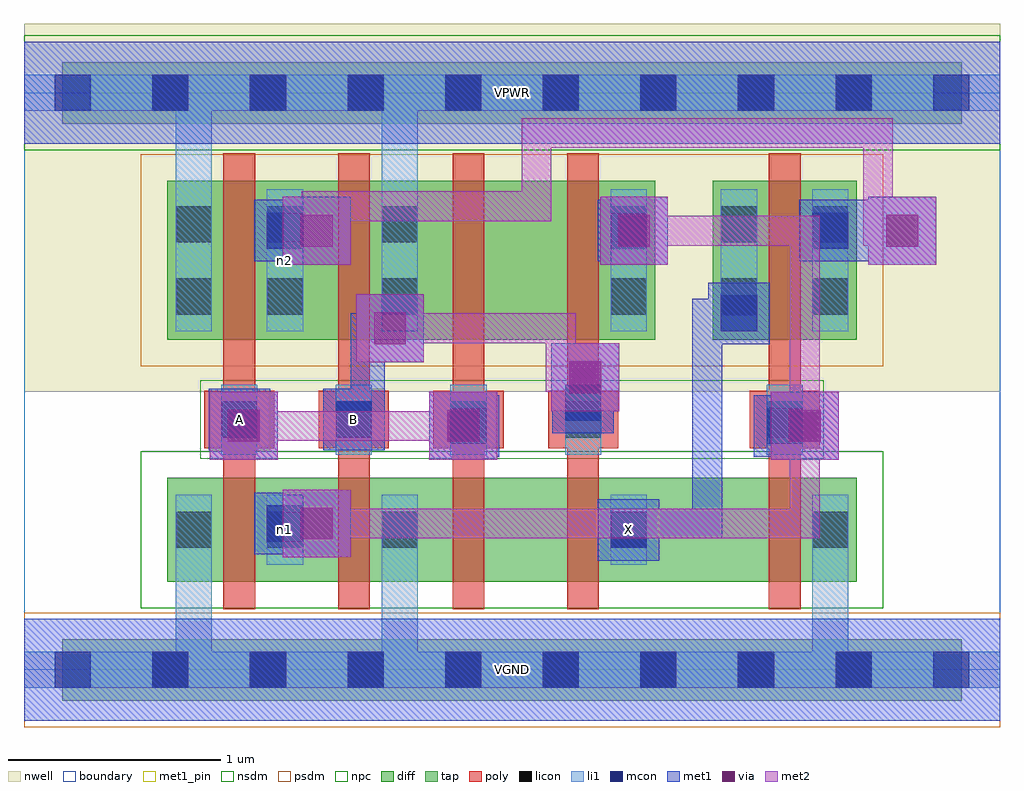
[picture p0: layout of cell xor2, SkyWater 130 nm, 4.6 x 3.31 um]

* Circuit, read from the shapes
.subckt xor2 A B VGND VPWR X n1 n2
XM1 n1 A VGND VGND sky130_fd_pr__nfet_01v8 w=0.49 l=0.15
XM2 VGND B n1 VGND sky130_fd_pr__nfet_01v8 w=0.49 l=0.15
XM3 n3 A VGND VGND sky130_fd_pr__nfet_01v8 w=0.49 l=0.15
XM4 X B n3 VGND sky130_fd_pr__nfet_01v8 w=0.49 l=0.15
XM5 VGND n1 X VGND sky130_fd_pr__nfet_01v8 w=0.49 l=0.15
XM6 n2 A VPWR VPWR sky130_fd_pr__pfet_01v8 w=0.75 l=0.15
XM7 VPWR B n2 VPWR sky130_fd_pr__pfet_01v8 w=0.75 l=0.15
XM8 n4 A VPWR VPWR sky130_fd_pr__pfet_01v8 w=0.75 l=0.15
XM9 n1 B n4 VPWR sky130_fd_pr__pfet_01v8 w=0.75 l=0.15
XM10 n2 n1 X VPWR sky130_fd_pr__pfet_01v8 w=0.75 l=0.15
.ends

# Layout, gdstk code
import gdstk
lib = gdstk.Library(unit=1e-6, precision=1e-09)
def R(c, l, rs):  # rectangles x0, y0, x1, y1
    for r in rs: c.add(gdstk.rectangle(r[:2], r[2:], *l))
def A(c, l, x, y, w, h, nx, ny, dx, dy):  # array of equal rectangles
    R(c, l, [(x+i*dx, y+j*dy, x+i*dx+w, y+j*dy+h) for i in range(nx) for j in range(ny)])
nwell = (64, 20)
diff = (65, 20)
tap = (65, 44)
poly = (66, 20)
licon = (66, 44)
li1 = (67, 20)
mcon = (67, 44)
met1_pin = (68, 16)
met1 = (68, 20)
via = (68, 44)
met2 = (69, 20)
nsdm = (93, 44)
psdm = (94, 20)
npc = (95, 20)
boundary = (235, 4)

xor2 = lib.new_cell('xor2')
R(xor2, nwell, [(0,1.31,4.6,3.045)])
R(xor2, diff, [(0.675,0.415,3.925,0.905), (0.675,1.555,2.975,2.305), (3.245,1.555,3.925,2.305)])
R(xor2, tap, [(0.18,-0.145,4.42,0.145), (0.18,2.575,4.42,2.865)])
A(xor2, poly, 0.94, 0.285, 0.15, 2.15, 4, 1, 0.54, 0)
A(xor2, poly, 0.85, 1.045, 0.33, 0.27, 4, 1, 0.54, 0)
R(xor2, poly, [(3.51,0.285,3.66,2.435), (3.42,1.045,3.75,1.315)])
A(xor2, licon, 0.605, -0.085, 0.17, 0.17, 8, 2, 0.46, 2.72)
A(xor2, licon, 0.93, 1.095, 0.17, 0.17, 4, 1, 0.54, 0)
R(xor2, licon, [(0.715,0.575,0.885,0.745), (1.145,0.575,1.315,0.745), (1.685,0.575,1.855,0.745), (2.765,0.575,2.935,0.745), (3.715,0.575,3.885,0.745), (3.5,1.095,3.67,1.265), (0.715,1.675,0.885,1.845), (1.145,1.675,1.315,1.845), (1.685,1.675,1.855,1.845), (2.765,1.675,2.935,1.845), (3.285,1.675,3.455,1.845), (3.715,1.675,3.885,1.845), (0.715,2.015,0.885,2.185), (1.145,2.015,1.315,2.185), (1.685,2.015,1.855,2.185), (2.765,2.015,2.935,2.185), (3.285,2.015,3.455,2.185), (3.715,2.015,3.885,2.185)])
A(xor2, li1, 0.93, 1.015, 0.17, 0.33, 4, 1, 0.54, 0)
R(xor2, li1, [(0,-0.085,4.6,0.085), (0.715,-0.085,0.885,0.825), (1.685,-0.085,1.855,0.825), (3.715,-0.085,3.885,0.825), (0.715,0.495,0.885,0.825), (1.145,0.495,1.315,0.825), (1.685,0.495,1.855,0.825), (2.765,0.495,2.935,0.825), (3.715,0.495,3.885,0.825), (3.5,1.015,3.67,1.345), (0.715,1.595,0.885,2.265), (0.715,1.595,0.885,2.805), (1.145,1.595,1.315,2.265), (1.685,1.595,1.855,2.265), (1.685,1.595,1.855,2.805), (2.765,1.595,2.935,2.265), (3.285,1.595,3.455,2.265), (3.715,1.595,3.885,2.265), (0,2.635,4.6,2.805)])
A(xor2, mcon, 0.145, -0.085, 0.17, 0.17, 10, 2, 0.46, 2.72)
R(xor2, mcon, [(2.765,0.575,2.935,0.745), (1.145,0.605,1.315,0.775), (2.01,1.065,2.18,1.235), (3.5,1.065,3.67,1.235), (0.93,1.095,1.1,1.265), (1.47,1.095,1.64,1.265), (2.55,1.175,2.72,1.345), (3.285,1.595,3.455,1.765), (1.145,1.985,1.315,2.155), (2.765,1.985,2.935,2.155), (3.715,1.985,3.885,2.155)])
R(xor2, met1_pin, [(0,-0.24,4.6,0.24), (2.705,0.515,2.995,0.805), (0.87,1.035,1.16,1.325), (1.41,1.035,1.7,1.325), (0,2.48,4.6,2.96)])
R(xor2, met1, [(0,-0.24,4.6,0.24), (2.705,0.515,2.995,0.805), (1.22,0.53,1.54,0.85), (1.085,0.545,1.375,0.835), (1.16,0.62,1.45,0.76), (2.805,0.62,2.945,0.76), (2.805,0.62,3.29,0.76), (3.15,0.62,3.29,1.565), (0.875,0.99,1.195,1.31), (1.91,0.99,2.23,1.31), (3.52,0.99,3.84,1.31), (1.95,1.005,2.24,1.295), (3.44,1.005,3.73,1.295), (0.87,1.035,1.16,1.325), (1.41,1.035,1.7,1.325), (0.965,1.08,1.105,1.22), (1.54,1.08,1.68,1.22), (1.54,1.08,1.68,1.68), (2,1.08,2.165,1.22), (3.515,1.08,3.75,1.22), (2.49,1.115,2.78,1.405), (2.565,1.19,2.715,1.33), (2.575,1.19,2.715,1.45), (2.485,1.22,2.805,1.54), (1.565,1.325,1.7,1.45), (3.15,1.425,3.29,1.75), (1.565,1.45,1.885,1.77), (3.225,1.535,3.515,1.825), (1.54,1.54,1.795,1.68), (3.15,1.61,3.44,1.75), (1.22,1.91,1.54,2.23), (2.715,1.91,3.035,2.23), (3.98,1.91,4.3,2.23), (1.085,1.925,1.375,2.215), (2.705,1.925,2.995,2.215), (3.655,1.925,3.945,2.215), (3.945,1.925,3.98,2.215), (1.16,2,1.45,2.14), (2.78,2,2.945,2.14), (3.73,2,3.98,2.14), (3.84,2,4.21,2.14), (0,2.48,4.6,2.96)])
R(xor2, via, [(1.305,0.615,1.455,0.765), (0.96,1.075,1.11,1.225), (1.995,1.075,2.145,1.225), (3.605,1.075,3.755,1.225), (2.57,1.305,2.72,1.455), (1.65,1.535,1.8,1.685), (1.305,1.995,1.455,2.145), (2.8,1.995,2.95,2.145), (4.065,1.995,4.215,2.145)])
R(xor2, met2, [(1.22,0.53,1.54,0.85), (1.31,0.62,3.75,0.76), (3.61,0.62,3.75,1.22), (0.875,0.99,1.195,1.31), (1.91,0.99,2.23,1.31), (3.52,0.99,3.84,1.31), (0.965,1.08,2.14,1.22), (3.61,1.08,3.75,2.14), (2.485,1.22,2.805,1.54), (2.46,1.31,2.6,1.68), (2.46,1.31,2.715,1.45), (1.565,1.45,1.885,1.77), (1.655,1.54,2.6,1.68), (1.22,1.91,1.54,2.23), (2.715,1.91,3.035,2.23), (3.98,1.91,4.3,2.23), (1.31,2,1.45,2.255), (2.805,2,3.75,2.14), (3.955,2,4.21,2.14), (3.955,2,4.095,2.6), (1.31,2.115,2.485,2.255), (2.345,2.115,2.485,2.6), (2.345,2.46,4.095,2.6)])
R(xor2, nsdm, [(0.55,0.29,4.05,1.03), (0,2.45,4.6,2.99)])
R(xor2, psdm, [(0,-0.27,4.6,0.27), (0.55,1.43,4.05,2.43)])
R(xor2, npc, [(0.83,0.995,3.77,1.365)])
R(xor2, boundary, [(0,0,4.6,2.72)])
xor2.add(gdstk.Label('n1', (1.23,0.66), layer=67, texttype=5))
xor2.add(gdstk.Label('n2', (1.23,1.93), layer=67, texttype=5))
xor2.add(gdstk.Label('A', (1.015,1.18), layer=68, texttype=5))
xor2.add(gdstk.Label('B', (1.555,1.18), layer=68, texttype=5))
xor2.add(gdstk.Label('X', (2.85,0.66), layer=68, texttype=5))
xor2.add(gdstk.Label('VPWR', (2.3,2.72), layer=68, texttype=5))
xor2.add(gdstk.Label('VGND', (2.3,0), layer=68, texttype=5))
xor2.add(gdstk.Label('A', (1.015,1.18), layer=68, texttype=16))
xor2.add(gdstk.Label('B', (1.555,1.18), layer=68, texttype=16))
xor2.add(gdstk.Label('X', (2.85,0.66), layer=68, texttype=16))
xor2.add(gdstk.Label('VPWR', (2.3,2.72), layer=68, texttype=16))
xor2.add(gdstk.Label('VGND', (2.3,0), layer=68, texttype=16))

lib.write_gds('xor2.gds')
